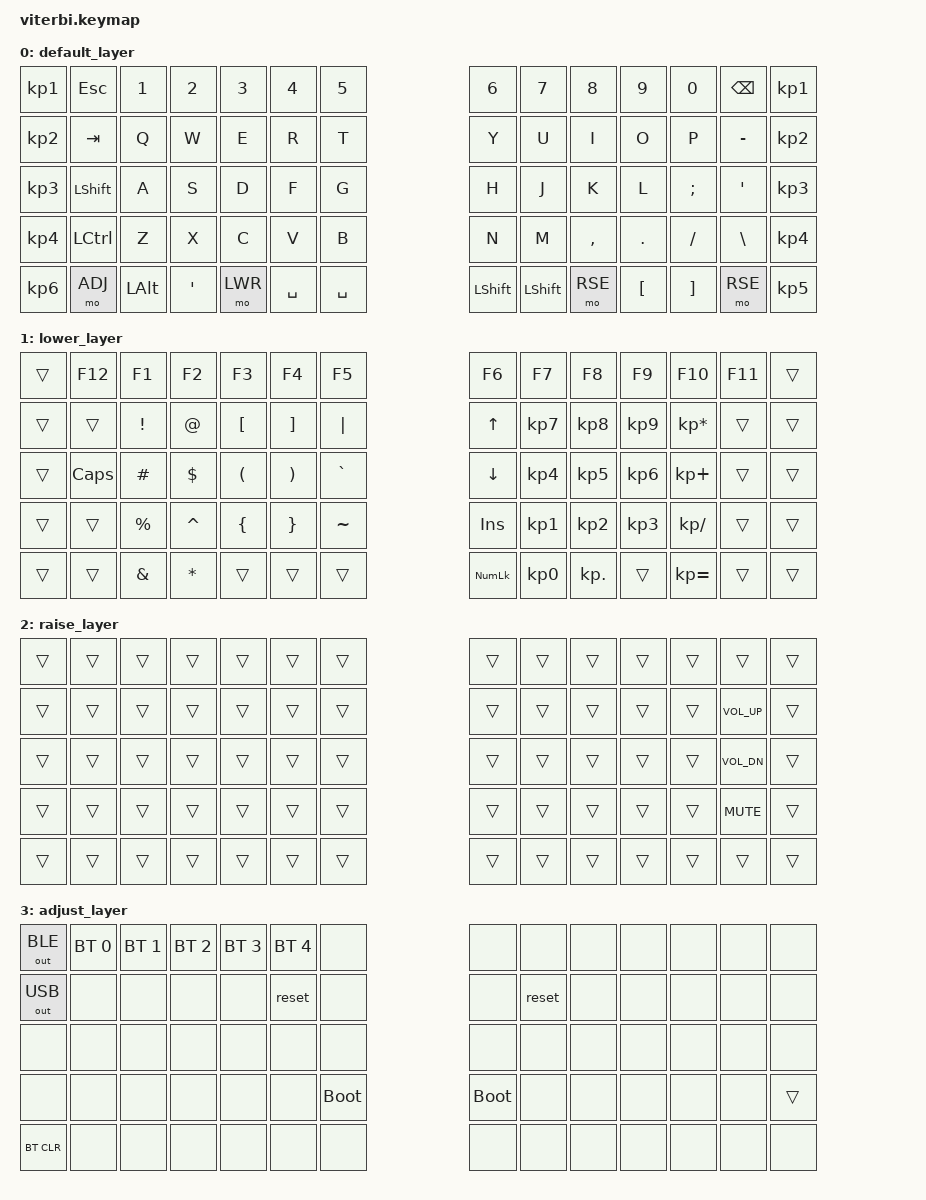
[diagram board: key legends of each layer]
#include <behaviors.dtsi>
#include <dt-bindings/zmk/keys.h>
#include <dt-bindings/zmk/bt.h>
#include <dt-bindings/zmk/outputs.h>

#define DEFAULT 0
#define LWR 1
#define RSE 2
#define ADJ 3

/ {
    keymap {
        compatible = "zmk,keymap";

        default_layer {
            bindings = <
             &kp KP_N1  &kp ESC   &kp N1   &kp N2   &kp N3    &kp N4    &kp N5                                         &kp N6  &kp N7   &kp N8    &kp N9   &kp N0   &kp BSPC   &kp KP_N1
             &kp KP_N2  &kp TAB   &kp Q    &kp W    &kp E     &kp R     &kp T                                          &kp Y   &kp U    &kp I     &kp O    &kp P    &kp MINUS  &kp KP_N2
             &kp KP_N3  &kp LSHFT &kp A    &kp S    &kp D     &kp F     &kp G                                          &kp H   &kp J    &kp K     &kp L    &kp SEMI &kp SQT    &kp KP_N3
             &kp KP_N4  &kp LCTRL &kp Z    &kp X    &kp C     &kp V     &kp B                                          &kp N   &kp M    &kp COMMA &kp DOT  &kp FSLH &kp BSLH   &kp KP_N4
             &kp KP_N6  &mo ADJ   &kp LALT &kp SQT  &mo LWR   &kp SPACE &kp SPACE                                      &kp LSHFT &kp LSHFT &mo RSE  &kp LBKT &kp RBKT &mo RSE  &kp KP_N5
            >;
        };

        lower_layer {
            bindings = <
             &trans  &kp F12  &kp F1    &kp F2    &kp F3    &kp F4    &kp F5                                   &kp F6     &kp F7    &kp F8     &kp F9     &kp F10         &kp F11 &trans
             &trans  &trans   &kp EXCL  &kp AT    &kp LBKT &kp RBKT   &kp PIPE                                 &kp UP     &kp KP_N7 &kp KP_N8  &kp KP_N9  &kp KP_ASTERISK &trans  &trans
             &trans  &kp CAPS &kp HASH  &kp DLLR  &kp LPAR &kp RPAR   &kp GRAVE                                &kp DOWN   &kp KP_N4 &kp KP_N5  &kp KP_N6  &kp KP_PLUS     &trans  &trans
             &trans  &trans   &kp PRCNT &kp CARET &kp LBRC &kp RBRC   &kp TILDE                                &kp INS    &kp KP_N1 &kp KP_N2  &kp KP_N3  &kp KP_SLASH    &trans  &trans
             &trans  &trans   &kp AMPS  &kp ASTRK &trans    &trans    &trans                                   &kp KP_NUM &kp KP_N0 &kp KP_DOT    &trans  &kp KP_EQUAL    &trans  &trans
            >;
        };

        raise_layer {
            bindings = <
             &trans  &trans    &trans      &trans    &trans    &trans    &trans                                &trans    &trans   &trans    &trans   &trans   &trans        &trans
             &trans  &trans    &trans      &trans    &trans    &trans    &trans                                &trans    &trans   &trans    &trans   &trans   &kp K_VOL_UP  &trans
             &trans  &trans    &trans      &trans    &trans    &trans    &trans                                &trans    &trans   &trans    &trans   &trans   &kp K_VOL_DN  &trans
             &trans  &trans    &trans      &trans    &trans    &trans    &trans                                &trans    &trans   &trans    &trans   &trans   &kp K_MUTE    &trans
             &trans  &trans    &trans      &trans    &trans    &trans    &trans                                &trans    &trans   &trans    &trans   &trans   &trans        &trans
             >;
        };

        adjust_layer {
            bindings = <
            &out OUT_BLE &bt BT_SEL 0 &bt BT_SEL 1 &bt BT_SEL 2 &bt BT_SEL 3 &bt BT_SEL 4 &none                             &none &none  &none &none &none &none &none
            &out OUT_USB &none        &none        &none        &none        &reset       &none                             &none &reset &none &none &none &none &none
            &none        &none        &none        &none        &none        &none        &none                             &none &none  &none &none &none &none &none
            &none        &none        &none        &none        &none        &none        &bootloader                 &bootloader &none  &none &none &none &none &trans
            &bt BT_CLR   &none        &none        &none        &none        &none        &none                             &none &none  &none &none &none &none &none
                                  >;
        };
    };
};

// / {
//    conditional_layers {
//        compatible = "zmk,conditional-layers";
//        tri_layer {
//            if-layers = <LWR RSE>;
//            then-layer = <ADJ>;
//        };
//    };
// }; 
